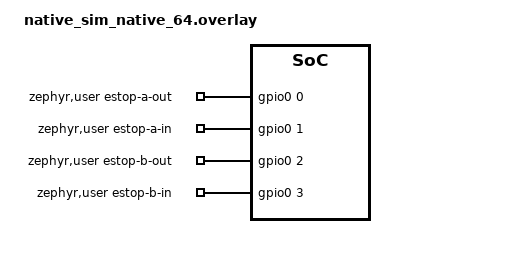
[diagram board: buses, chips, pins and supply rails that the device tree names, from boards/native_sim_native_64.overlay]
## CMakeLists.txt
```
cmake_minimum_required(VERSION 3.20.0)
find_package(Zephyr REQUIRED HINTS $ENV{ZEPHYR_BASE})
project(lockstep)

set(APP_SRC ${CMAKE_CURRENT_SOURCE_DIR}/../../src)

target_sources(app PRIVATE
  src/main.c
  ${APP_SRC}/lockstep.c
  ${APP_SRC}/session.c
  ${APP_SRC}/app_settings.c
  ${APP_SRC}/estop_gpio.c
  ${APP_SRC}/estop_verdict.c
)
target_include_directories(app PRIVATE ${APP_SRC})
```

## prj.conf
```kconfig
CONFIG_ZTEST=y

CONFIG_GPIO=y
CONFIG_GPIO_EMUL=y

CONFIG_NETWORKING=y
CONFIG_NET_SOCKETS=y

CONFIG_FLASH=y
CONFIG_FLASH_MAP=y
CONFIG_FLASH_SIMULATOR=y
CONFIG_FLASH_SIMULATOR_DOUBLE_WRITES=y
CONFIG_ZMS=y
CONFIG_SETTINGS=y
CONFIG_SETTINGS_ZMS=y
```

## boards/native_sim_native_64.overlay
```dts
/*
 * Copyright (c) 2026 Richard Osterloh <richard.osterloh@gmail.com>
 * SPDX-License-Identifier: Apache-2.0
 *
 * Dual-channel stop-switch loopback, modelled on gpio_emul.
 *
 * On hardware each channel runs out of a drive pin, through one pole of the
 * external DPST normally-closed switch, and back into a sense pin pulled DOWN
 * (so an open loop or a cut wire reads 0 = STOP). native_sim has no wire, so
 * estop_gpio.c mirrors OUT onto IN through a simulated pole; see
 * estop_sim_set_pole().
 *
 * Pin numbers mirror the hardware build (39/40, 41/42) purely so the two
 * overlays read alike; on gpio_emul any pin below ngpios would do.
 */

/ {
	zephyr,user {
		estop-a-out-gpios = <&gpio0 0 GPIO_ACTIVE_HIGH>;
		estop-a-in-gpios = <&gpio0 1 GPIO_ACTIVE_HIGH>;
		estop-b-out-gpios = <&gpio0 2 GPIO_ACTIVE_HIGH>;
		estop-b-in-gpios = <&gpio0 3 GPIO_ACTIVE_HIGH>;
	};
};
```

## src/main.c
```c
/*
 * Copyright (c) 2026 Richard Osterloh <richard.osterloh@gmail.com>
 * SPDX-License-Identifier: Apache-2.0
 *
 * The comparator's contract: transmit only when both samplers produced
 * byte-identical frames, and stay silent until both channels have settled.
 *
 * These use the synchronous pstop_lockstep_tick() rather than the threads, so
 * the tests are deterministic. The threads are exercised by the live interop
 * run in Task 7.
 *
 * NOTE: these cases are deliberately ORDERED and share state.
 *
 * ztest emits each ZTEST() into an iterable section that the linker sorts with
 * SORT_BY_NAME (zephyr/linker/iterable_sections.h), so cases execute in
 * ALPHABETICAL order of their symbol name, not source order. The test_NN_
 * prefixes are therefore load-bearing: they are what makes the sequence below
 * run in the order it is written in. Do not remove them.
 *
 * The ordering is intentional rather than incidental. This suite models one
 * device across successive ticks -- unsettled at boot, then settled and
 * transmitting, then split, then healed, then a real stop-and-recover cycle
 * -- and that progression is the behaviour under test. Only test_01 requires
 * pristine state (sent == 0, channels unprimed); the rest settle and snapshot
 * their own baseline first.
 *
 * test_00 is the one exception to all of the above: it is a pure white-box
 * unit test of the generation-stamp completion check (see lockstep.h), and it
 * neither depends on nor disturbs the device-model progression -- any real
 * tick immediately overwrites whatever it pokes into the sampler generations.
 * It sorts before test_01 by construction, which is convenient but not
 * load-bearing the way test_01..test_04's ordering is.
 *
 * test_06 onward each re-settle and re-bond via settle_bonded() before
 * asserting anything, so they depend on the earlier cases only for time
 * moving forward.
 */

#include <errno.h>
#include <string.h>

#include <zephyr/net/socket.h>
#include <zephyr/sys/byteorder.h>
#include <zephyr/ztest.h>

#include "app_settings.h"
#include "estop_gpio.h"
#include "lockstep.h"
#include "session.h"

#define FAKE_MACHINE_PORT  18890U
#define FAKE_MACHINE_HB_MS 1000U
#define FAKE_MACHINE_ID    0x01020304U

static int fake_machine_sock;

/* Every message type the fake machine has actually received, in order --
 * i.e. what really reached the wire, not what the remote intended to send.
 * test_05 decodes this to pin the arming gesture (STOP->OK) at the message
 * level, which byte-count assertions like test_04's cannot: a count only
 * proves something was sent, never what.
 */
#define RECORDED_MESSAGES_MAX 64
static uint8_t recorded_messages[RECORDED_MESSAGES_MAX];
static size_t recorded_count;

static void recorded_reset(void)
{
	recorded_count = 0U;
}

/* When set, the fake machine refuses us: it answers every frame with UNBOND,
 * as an upstream machine does once its denylist names us (test_09).
 */
static bool fake_machine_unbond;

/* A minimal fake machine: it acks a BOND request with a heartbeat_timeout,
 * because pstop_session_poll() only reaches PSTOP_SESS_BONDED on a decoded
 * reply, and pstop_session_build() emits a BOND frame -- with no
 * verdict-derived field at all -- until then. Without this, both samplers'
 * frames stay byte-identical no matter what the switch does, and the
 * comparator can never be exercised. Called explicitly between ticks, never
 * on a thread, so the tests stay deterministic.
 */
static void fake_machine_service(void)
{
	uint8_t buf[PSTOP_MESSAGE_SIZE];
	uint8_t out[PSTOP_MESSAGE_SIZE];
	struct sockaddr_in from;
	socklen_t from_len = sizeof(from);
	pstop_msg_t req;
	pstop_msg_t reply;
	device_id_t machine_id;
	ssize_t n;

	n = zsock_recvfrom(fake_machine_sock, buf, sizeof(buf), ZSOCK_MSG_DONTWAIT,
			   (struct sockaddr *)&from, &from_len);
	if (n != (ssize_t)PSTOP_MESSAGE_SIZE) {
		return;
	}

	pstop_message_decode(&req, buf);

	if (recorded_count < RECORDED_MESSAGES_MAX) {
		recorded_messages[recorded_count++] = req.message;
	}

	device_id_set(&machine_id, FAKE_MACHINE_ID);
	if (fake_machine_unbond) {
		pstop_create_generic_message(&reply, PSTOP_MESSAGE_UNBOND, req.stamp, req.stamp,
					     &machine_id, &req.id, req.counter + 1U, req.counter);
		reply.heartbeat_timeout = 0U;
	} else {
		pstop_create_ok_message(&reply, req.stamp, req.stamp, &machine_id, &req.id,
					req.counter + 1U, req.counter);
		reply.heartbeat_timeout = FAKE_MACHINE_HB_MS;
	}

	pstop_message_encode(&reply, out);
	(void)zsock_sendto(fake_machine_sock, out, sizeof(out), 0, (struct sockaddr *)&from,
			   from_len);
}

static void *suite_setup(void)
{
	struct sockaddr_in fake_addr;

	zassert_ok(app_settings_init(), "settings");
	/* Point slot 0 at 127.0.0.1:18890, where fake_machine_service() above
	 * acks the BOND -- see its comment for why that ack is required.
	 */
	zassert_ok(
		app_settings_set_peer(0, 0x7F000001U, (uint16_t)FAKE_MACHINE_PORT, FAKE_MACHINE_ID),
		"peer");
	zassert_ok(app_settings_set_device_id(0xC0A80105U), "device id");
	zassert_ok(estop_gpio_init(), "gpio");
	zassert_ok(pstop_lockstep_init(), "lockstep");

	fake_machine_sock = zsock_socket(AF_INET, SOCK_DGRAM, IPPROTO_UDP);
	zassert_true(fake_machine_sock >= 0, "fake machine socket");

	(void)memset(&fake_addr, 0, sizeof(fake_addr));
	fake_addr.sin_family = AF_INET;
	fake_addr.sin_port = htons((uint16_t)FAKE_MACHINE_PORT);
	fake_addr.sin_addr.s_addr = htonl(INADDR_ANY);
	zassert_ok(zsock_bind(fake_machine_sock, (struct sockaddr *)&fake_addr, sizeof(fake_addr)),
		   "fake machine bind");

	return NULL;
}

ZTEST(lockstep, test_00_samplers_published_rejects_stale_generation)
{
	uint32_t gen;

	/* Manufacture the exact defect the generation stamp exists to catch: a
	 * sampler's last completion belongs to a stale generation, meaning it
	 * did not run for the tick under comparison. This is expressible as
	 * pure state -- no threads, no timing, and unlike a thread-timing test
	 * it does not self-heal on a uniprocessor.
	 */
	gen = pstop_lockstep_test_tick_gen();
	pstop_lockstep_test_set_sampler_gen(0, gen);
	pstop_lockstep_test_set_sampler_gen(1, gen);
	zassert_true(pstop_lockstep_test_samplers_published(),
		     "both channels at the current generation must publish");

	pstop_lockstep_test_set_sampler_gen(1, gen - 1U);
	zassert_false(pstop_lockstep_test_samplers_published(),
		      "a channel stuck on a stale generation must not publish");

	/* Leave both channels at the current generation: the next real tick
	 * overwrites this regardless, but there is no reason to leave it torn.
	 */
	pstop_lockstep_test_set_sampler_gen(1, gen);
}

ZTEST(lockstep, test_01_silent_until_both_channels_settle)
{
	const struct pstop_session *s;

	/* Both poles closed but not yet debounced: nothing may go out. The
	 * boot-priming STOP must never reach a machine, because a machine
	 * treats STOP->OK as the arming gesture and would arm with no operator
	 * action at all.
	 */
	estop_sim_set_pole(0, true);
	estop_sim_set_pole(1, true);

	pstop_lockstep_tick(1000ULL);

	s = pstop_lockstep_session(0);
	zassert_equal(s->sent, 0U, "nothing may be sent before both channels settle");
}

ZTEST(lockstep, test_02_sends_once_settled)
{
	const struct pstop_session *s;
	uint64_t now = 2000ULL;

	estop_sim_set_pole(0, true);
	estop_sim_set_pole(1, true);

	for (unsigned int i = 0U; i < 8U; i++) {
		pstop_lockstep_tick(now);
		now += 100ULL;
	}

	s = pstop_lockstep_session(0);
	zassert_true(s->sent > 0U, "a settled, agreeing pair must transmit");
}

ZTEST(lockstep, test_03_split_channels_silence_every_session)
{
	const struct pstop_session *s;
	uint32_t sent_before;
	uint32_t mismatches_before;
	uint64_t now = 5000ULL;

	/* Settle and bond first: the fake machine acks the BOND so the session
	 * reaches PSTOP_SESS_BONDED and its frames start carrying the real
	 * verdict, which a channel split can then diverge.
	 */
	estop_sim_set_pole(0, true);
	estop_sim_set_pole(1, true);
	for (unsigned int i = 0U; i < 8U; i++) {
		pstop_lockstep_tick(now);
		fake_machine_service();
		now += 100ULL;
	}

	s = pstop_lockstep_session(0);
	zassert_equal(s->state, PSTOP_SESS_BONDED, "must be bonded before a verdict can diverge");
	sent_before = s->sent;
	zassert_true(sent_before > 0U, "a bonded, agreeing pair must already have transmitted");

	/* A few more agreeing, bonded ticks: confirm the comparator keeps
	 * matching real verdict-bearing frames and keeps transmitting.
	 */
	for (unsigned int i = 0U; i < 5U; i++) {
		pstop_lockstep_tick(now);
		fake_machine_service();
		now += 100ULL;
	}
	zassert_true(s->sent > sent_before, "a bonded, agreeing pair must keep transmitting");
	sent_before = s->sent;
	mismatches_before = pstop_lockstep_mismatches();

	/* Now break ONE pole: the channels disagree, so nothing may go out and
	 * the machine must time out on heartbeat liveness.
	 */
	estop_sim_set_pole(1, false);
	for (unsigned int i = 0U; i < 10U; i++) {
		pstop_lockstep_tick(now);
		fake_machine_service();
		now += 100ULL;
	}

	zassert_equal(s->sent, sent_before, "a channel split must silence transmission");
	zassert_true(pstop_lockstep_mismatches() > mismatches_before,
		     "the mismatch must be counted");

	/* And attributed: which slot, where the frames split, and what each
	 * sampler read. Pole 0 is closed (OK), pole 1 open (STOP).
	 */
	struct pstop_lockstep_diag diag;

	pstop_lockstep_diag_get(&diag);
	zassert_equal(diag.mismatch_slot, 0U, "the mismatch must name its slot");
	zassert_true(diag.mismatch_offset < PSTOP_MESSAGE_SIZE, "the offset must be in the frame");
	zassert_equal(diag.mismatch_verdict[0], PSTOP_MESSAGE_OK, "channel 0 read closed");
	zassert_equal(diag.mismatch_verdict[1], PSTOP_MESSAGE_STOP, "channel 1 read open");
}

ZTEST(lockstep, test_04_recovers_when_the_split_heals)
{
	const struct pstop_session *s;
	uint32_t sent_before;
	uint64_t now = 9000ULL;

	estop_sim_set_pole(0, true);
	estop_sim_set_pole(1, false);
	for (unsigned int i = 0U; i < 6U; i++) {
		pstop_lockstep_tick(now);
		fake_machine_service();
		now += 100ULL;
	}

	s = pstop_lockstep_session(0);
	zassert_equal(s->state, PSTOP_SESS_BONDED, "must be bonded before a verdict can diverge");
	sent_before = s->sent;

	estop_sim_set_pole(1, true);
	for (unsigned int i = 0U; i < 10U; i++) {
		pstop_lockstep_tick(now);
		fake_machine_service();
		now += 100ULL;
	}

	zassert_true(s->sent > sent_before, "transmission must resume once the channels agree");
}

/* Count STOP->OK transitions in the recorded sequence, and confirm no OK
 * precedes the first STOP. A transition is an OK immediately following a
 * STOP -- consecutive repeats of either message do not add one.
 */
static void assert_exactly_one_arming_edge(void)
{
	bool seen_stop = false;
	int transitions = 0;

	zassert_true(recorded_count > 0U, "the fake machine must have received something");

	for (size_t i = 0U; i < recorded_count; i++) {
		if (recorded_messages[i] == PSTOP_MESSAGE_STOP) {
			seen_stop = true;
		} else if (recorded_messages[i] == PSTOP_MESSAGE_OK) {
			zassert_true(seen_stop, "an OK must never reach the wire before a STOP");
			if ((i > 0U) && (recorded_messages[i - 1U] == PSTOP_MESSAGE_STOP)) {
				transitions++;
			}
		}
	}

	zassert_equal(transitions, 1, "exactly one STOP->OK arming edge must reach the wire");
}

/* test_04 leaves both channels agreeing and closed (transmitting OK). Both
 * are driven to STOP together here -- an agreed STOP, unlike test_03/04's
 * channel split, which never puts an agreed STOP on the wire at all (a
 * mismatch is silence, not a transmitted STOP). This is the scenario the
 * arming gesture actually depends on: a machine reads STOP->OK as "the
 * operator did something", so the wire must carry exactly one such edge
 * across a real stop-and-recover cycle, even with a mechanical bounce during
 * the reclose.
 *
 * A transmission only happens on a "due" tick -- once bonded, that is every
 * hb_ms/2 (500 ms = 5 ticks at the 100 ms step used throughout this file),
 * not every physical sample -- so a one-tick bounce cannot just be dropped in
 * anywhere and trusted to land on the wire. The physical debounce state
 * still advances every tick regardless of whether that tick transmits, so
 * the bounce is placed to land ON a due tick deliberately: that is the one
 * placement where a debounce bug is guaranteed to be visible on the wire,
 * and where correct debounce is guaranteed to still show STOP.
 */
ZTEST(lockstep, test_05_wire_carries_exactly_one_arming_edge)
{
	const struct pstop_session *s = pstop_lockstep_session(0);
	uint64_t now = 11000ULL; /* small step past test_04's end: no rebond */
	uint32_t sent_before;
	unsigned int i;

	recorded_reset();

	/* Agreed STOP, held until it actually reaches the wire (T). */
	estop_sim_set_pole(0, false);
	estop_sim_set_pole(1, false);
	sent_before = s->sent;
	for (i = 0U; i < 20U; i++) {
		pstop_lockstep_tick(now);
		fake_machine_service();
		now += 100ULL;
		if (s->sent > sent_before) {
			break;
		}
	}
	zassert_true(s->sent > sent_before, "an agreed STOP must reach the wire");

	/* T+1..T+4: still open, nothing changes. The next due tick is exactly
	 * T+5 -- nothing else resets last_send_ms in between.
	 */
	for (i = 0U; i < 4U; i++) {
		pstop_lockstep_tick(now);
		fake_machine_service();
		now += 100ULL;
	}

	/* T+5: the one-tick mechanical bounce, landing exactly on the due
	 * tick. The release debounce exists to absorb exactly this without
	 * producing a premature OK.
	 */
	estop_sim_set_pole(0, true);
	estop_sim_set_pole(1, true);
	pstop_lockstep_tick(now);
	fake_machine_service();
	now += 100ULL;
	estop_sim_set_pole(0, false);
	estop_sim_set_pole(1, false);

	/* T+6..T+14: held open well past the next due tick (T+10), so it
	 * samples an unambiguous STOP -- confirming the bounce did not latch.
	 */
	for (i = 0U; i < 9U; i++) {
		pstop_lockstep_tick(now);
		fake_machine_service();
		now += 100ULL;
	}

	/* T+15 onward: the real reclose, held closed continuously well past
	 * the debounce and the next due tick (T+20), so the wire settles on
	 * OK for good.
	 */
	estop_sim_set_pole(0, true);
	estop_sim_set_pole(1, true);
	for (i = 0U; i < 9U; i++) {
		pstop_lockstep_tick(now);
		fake_machine_service();
		now += 100ULL;
	}

	assert_exactly_one_arming_edge();
}

/* Run agreeing, closed, serviced ticks until bonded and transmitting. Returns
 * the time after the last tick.
 */
static uint64_t settle_bonded(uint64_t now)
{
	const struct pstop_session *s = pstop_lockstep_session(0);

	estop_sim_set_pole(0, true);
	estop_sim_set_pole(1, true);
	for (unsigned int i = 0U; i < 20U; i++) {
		pstop_lockstep_tick(now);
		fake_machine_service();
		now += 100ULL;
	}
	zassert_equal(s->state, PSTOP_SESS_BONDED, "must be bonded");
	return now;
}

/* A sampler that publishes after the shared window has closed taints the
 * tick, even though its frame carries the current generation and agrees with
 * the other sampler's. Before upstream #154 the second sampler got a fresh
 * 80 ms of its own, so a frame up to 160 ms late could still be sent.
 */
ZTEST(lockstep, test_06_late_sampler_taints_the_tick)
{
	const struct pstop_session *s = pstop_lockstep_session(0);
	struct pstop_lockstep_diag diag;
	uint32_t sent_before;
	uint32_t missed_before;
	uint32_t mismatches_before;
	uint64_t now;

	now = settle_bonded(16000ULL);
	sent_before = s->sent;
	missed_before = pstop_lockstep_missed_deadlines();
	mismatches_before = pstop_lockstep_mismatches();

	/* Ten ticks span two due ticks at the 500 ms send period. */
	for (unsigned int i = 0U; i < 10U; i++) {
		pstop_lockstep_test_tick_late(now, BIT(1));
		fake_machine_service();
		now += 100ULL;
	}

	zassert_equal(s->sent, sent_before, "a tick with a late sampler must send nothing");
	zassert_equal(pstop_lockstep_missed_deadlines(), missed_before + 10U,
		      "every late tick must be counted");
	zassert_equal(pstop_lockstep_mismatches(), mismatches_before,
		      "a late sampler is not a content mismatch");

	pstop_lockstep_diag_get(&diag);
	zassert_equal(diag.late_mask, BIT(1), "the late sampler must be named");

	for (unsigned int i = 0U; i < 10U; i++) {
		pstop_lockstep_tick(now);
		fake_machine_service();
		now += 100ULL;
	}
	zassert_true(s->sent > sent_before, "transmission must resume once both are on time");
}

static void flip_role(void)
{
	(void)app_settings_set_operator(!app_settings_is_operator());
}

/* The role is live, so it can change between the two samplers' builds. Each
 * sampler reading settings itself would encode different padding1 bytes and
 * silence every session for a tick; one snapshot per tick keeps them equal.
 */
ZTEST(lockstep, test_07_role_change_mid_tick_does_not_split)
{
	const struct pstop_session *s = pstop_lockstep_session(0);
	uint32_t sent_before;
	uint32_t mismatches_before;
	uint64_t now;

	now = settle_bonded(20000ULL);
	sent_before = s->sent;
	mismatches_before = pstop_lockstep_mismatches();

	pstop_lockstep_test_between_samplers = flip_role;
	for (unsigned int i = 0U; i < 10U; i++) {
		pstop_lockstep_tick(now);
		fake_machine_service();
		now += 100ULL;
	}
	pstop_lockstep_test_between_samplers = NULL;
	(void)app_settings_set_operator(false);

	zassert_equal(pstop_lockstep_mismatches(), mismatches_before,
		      "a role change between samplers must not split their encodings");
	zassert_true(s->sent > sent_before, "transmission must continue through role changes");
}

/* A machine that answers UNBOND parks the slot: no frames at all, not a BOND
 * every PSTOP_BOND_RETRY_MS. A rebond request is the way out.
 */
ZTEST(lockstep, test_08_unbond_parks_until_rebond_requested)
{
	const struct pstop_session *s = pstop_lockstep_session(0);
	uint32_t sent_parked;
	uint64_t now;

	now = settle_bonded(24000ULL);

	fake_machine_unbond = true;
	for (unsigned int i = 0U; i < 10U; i++) {
		pstop_lockstep_tick(now);
		fake_machine_service();
		now += 100ULL;
	}
	zassert_equal(s->state, PSTOP_SESS_REJECTED, "UNBOND must park the slot");

	/* Parked for longer than PSTOP_BOND_RETRY_MS and the rebond watchdog:
	 * nothing may go out.
	 */
	sent_parked = s->sent;
	for (unsigned int i = 0U; i < 80U; i++) {
		pstop_lockstep_tick(now);
		fake_machine_service();
		now += 100ULL;
	}
	zassert_equal(s->sent, sent_parked, "a parked slot must send nothing");
	zassert_equal(s->state, PSTOP_SESS_REJECTED, "only a rebond request un-parks");

	fake_machine_unbond = false;
	zassert_ok(pstop_lockstep_request_rebond(0), "rebond request");
	zassert_equal(pstop_lockstep_request_rebond(PSTOP_MAX_MACHINES), -EINVAL,
		      "an out-of-range slot must be refused");
	for (unsigned int i = 0U; i < 5U; i++) {
		pstop_lockstep_tick(now);
		fake_machine_service();
		now += 100ULL;
	}
	zassert_equal(s->state, PSTOP_SESS_BONDED, "a rebond request must bond again");
	zassert_true(s->sent > sent_parked, "the rebond must reach the wire");
}

ZTEST_SUITE(lockstep, NULL, suite_setup, NULL, NULL, NULL);
```
